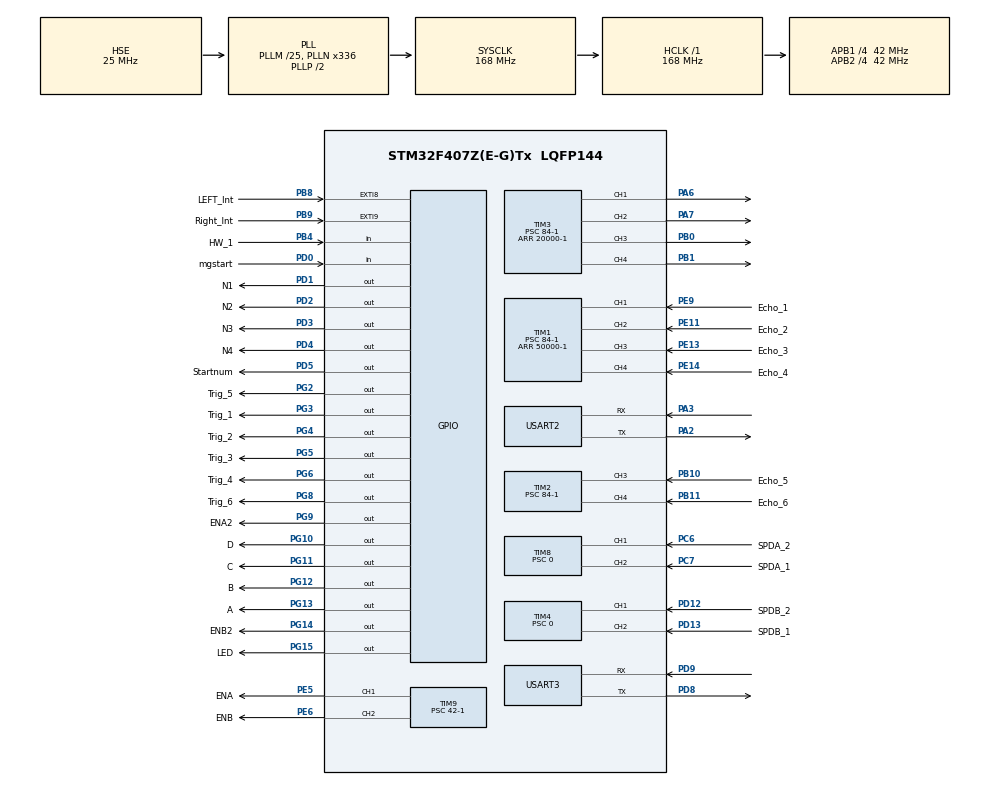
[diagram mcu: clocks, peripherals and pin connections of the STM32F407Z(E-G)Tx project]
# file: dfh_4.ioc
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Dma.Request0=USART2_RX
Dma.Request1=USART2_TX
Dma.Request2=USART3_RX
Dma.Request3=USART3_TX
Dma.USART2_RX.0.Direction=DMA_PERIPH_TO_MEMORY
Dma.USART2_RX.0.FIFOMode=DMA_FIFOMODE_DISABLE
Dma.USART2_RX.0.Instance=DMA1_Stream5
Dma.USART2_RX.0.MemDataAlignment=DMA_MDATAALIGN_BYTE
Dma.USART2_RX.0.MemInc=DMA_MINC_ENABLE
Dma.USART2_RX.0.Mode=DMA_NORMAL
Dma.USART2_RX.0.PeriphDataAlignment=DMA_PDATAALIGN_BYTE
Dma.USART2_RX.0.PeriphInc=DMA_PINC_DISABLE
Dma.USART2_RX.0.Priority=DMA_PRIORITY_HIGH
Dma.USART2_TX.1.Direction=DMA_MEMORY_TO_PERIPH
Dma.USART2_TX.1.FIFOMode=DMA_FIFOMODE_DISABLE
Dma.USART2_TX.1.Instance=DMA1_Stream6
Dma.USART2_TX.1.MemDataAlignment=DMA_MDATAALIGN_BYTE
Dma.USART2_TX.1.MemInc=DMA_MINC_ENABLE
Dma.USART2_TX.1.Mode=DMA_NORMAL
Dma.USART2_TX.1.PeriphDataAlignment=DMA_PDATAALIGN_BYTE
Dma.USART2_TX.1.PeriphInc=DMA_PINC_DISABLE
Dma.USART2_TX.1.Priority=DMA_PRIORITY_LOW
Dma.USART3_RX.2.Direction=DMA_PERIPH_TO_MEMORY
Dma.USART3_RX.2.FIFOMode=DMA_FIFOMODE_DISABLE
Dma.USART3_RX.2.Instance=DMA1_Stream1
Dma.USART3_RX.2.MemDataAlignment=DMA_MDATAALIGN_BYTE
Dma.USART3_RX.2.MemInc=DMA_MINC_ENABLE
Dma.USART3_RX.2.Mode=DMA_NORMAL
Dma.USART3_RX.2.PeriphDataAlignment=DMA_PDATAALIGN_BYTE
Dma.USART3_RX.2.PeriphInc=DMA_PINC_DISABLE
Dma.USART3_RX.2.Priority=DMA_PRIORITY_HIGH
Dma.USART3_TX.3.Direction=DMA_MEMORY_TO_PERIPH
Dma.USART3_TX.3.FIFOMode=DMA_FIFOMODE_DISABLE
Dma.USART3_TX.3.Instance=DMA1_Stream3
Dma.USART3_TX.3.MemDataAlignment=DMA_MDATAALIGN_BYTE
Dma.USART3_TX.3.MemInc=DMA_MINC_ENABLE
Dma.USART3_TX.3.Mode=DMA_NORMAL
Dma.USART3_TX.3.PeriphDataAlignment=DMA_PDATAALIGN_BYTE
Dma.USART3_TX.3.PeriphInc=DMA_PINC_DISABLE
Dma.USART3_TX.3.Priority=DMA_PRIORITY_LOW
FREERTOS.INCLUDE_vTaskDelayUntil=1
FREERTOS.INCLUDE_xQueueGetMutexHolder=0
FREERTOS.INCLUDE_xSemaphoreGetMutexHolder=0
FREERTOS.Tasks01=defaultTask,0,128,StartDefaultTask,Default,NULL
FREERTOS.configMINIMAL_STACK_SIZE=64
Mcu.Family=STM32F4
Mcu.Name=STM32F407Z(E-G)Tx
Mcu.Package=LQFP144
NVIC.DMA1_Stream1_IRQn=true\:5\:0\:false\:false\:true\:true\:false
NVIC.DMA1_Stream3_IRQn=true\:5\:0\:false\:false\:true\:true\:false
NVIC.DMA1_Stream5_IRQn=true\:5\:0\:false\:false\:true\:true\:false
NVIC.DMA1_Stream6_IRQn=true\:5\:0\:false\:false\:true\:true\:false
NVIC.EXTI9_5_IRQn=true\:5\:0\:false\:false\:true\:true\:true
NVIC.PriorityGroup=NVIC_PRIORITYGROUP_4
NVIC.TIM1_CC_IRQn=true\:5\:0\:false\:false\:true\:true\:true
NVIC.TIM2_IRQn=true\:5\:0\:false\:false\:true\:true\:true
NVIC.TIM3_IRQn=true\:5\:0\:false\:false\:true\:true\:true
NVIC.TIM7_IRQn=true\:0\:0\:false\:false\:true\:false\:false
NVIC.TIM8_TRG_COM_TIM14_IRQn=true\:0\:0\:false\:false\:true\:false\:false
NVIC.TimeBase=TIM7_IRQn
NVIC.TimeBaseIP=TIM7
NVIC.USART2_IRQn=true\:5\:0\:false\:false\:true\:true\:true
NVIC.USART3_IRQn=true\:5\:0\:false\:false\:true\:true\:true
PA13.Mode=Serial_Wire
PA13.Signal=SYS_JTMS-SWDIO
PA14.Mode=Serial_Wire
PA14.Signal=SYS_JTCK-SWCLK
PA2.Mode=Asynchronous
PA2.Signal=USART2_TX
PA3.Mode=Asynchronous
PA3.Signal=USART2_RX
PA6.Signal=S_TIM3_CH1
PA7.Signal=S_TIM3_CH2
PB0.Signal=S_TIM3_CH3
PB1.Signal=S_TIM3_CH4
PB10.GPIO_Label=Echo_5
PB10.GPIO_ModeDefaultPP=GPIO_MODE_AF_OD
PB10.GPIO_PuPd=GPIO_PULLDOWN
PB10.GPIO_Speed=GPIO_SPEED_FREQ_HIGH
PB10.Signal=S_TIM2_CH3
PB11.GPIO_Label=Echo_6
PB11.GPIO_ModeDefaultPP=GPIO_MODE_AF_OD
PB11.GPIO_PuPd=GPIO_PULLDOWN
PB11.GPIO_Speed=GPIO_SPEED_FREQ_HIGH
PB11.Signal=S_TIM2_CH4
PB4.GPIO_Label=HW_1
PB4.GPIO_PuPd=GPIO_PULLDOWN
PB4.Signal=GPIO_Input
PB8.GPIO_Label=LEFT_Int
PB8.GPIO_ModeDefaultEXTI=GPIO_MODE_IT_FALLING
PB8.GPIO_PuPd=GPIO_PULLUP
PB8.Signal=GPXTI8
PB9.GPIO_Label=Right_Int
PB9.GPIO_ModeDefaultEXTI=GPIO_MODE_IT_FALLING
PB9.GPIO_PuPd=GPIO_PULLUP
PB9.Signal=GPXTI9
PC14-OSC32_IN.Mode=LSE-External-Oscillator
PC14-OSC32_IN.Signal=RCC_OSC32_IN
PC15-OSC32_OUT.Mode=LSE-External-Oscillator
PC15-OSC32_OUT.Signal=RCC_OSC32_OUT
PC6.GPIO_Label=SPDA_2
PC6.GPIO_ModeDefaultPP=GPIO_MODE_AF_OD
PC6.GPIO_Speed=GPIO_SPEED_FREQ_MEDIUM
PC6.Signal=S_TIM8_CH1
PC7.GPIO_Label=SPDA_1
PC7.GPIO_ModeDefaultPP=GPIO_MODE_AF_OD
PC7.GPIO_Speed=GPIO_SPEED_FREQ_MEDIUM
PC7.Signal=S_TIM8_CH2
PD0.GPIO_Label=mgstart
PD0.GPIO_PuPd=GPIO_PULLDOWN
PD0.Signal=GPIO_Input
PD1.GPIO_Label=N1
PD1.GPIO_ModeDefaultOutputPP=GPIO_MODE_OUTPUT_OD
PD1.GPIO_PuPd=GPIO_PULLUP
PD1.GPIO_Speed=GPIO_SPEED_FREQ_LOW
PD1.PinState=GPIO_PIN_SET
PD1.Signal=GPIO_Output
PD12.GPIO_Label=SPDB_2
PD12.GPIO_ModeDefaultPP=GPIO_MODE_AF_OD
PD12.GPIO_Speed=GPIO_SPEED_FREQ_MEDIUM
PD12.Signal=S_TIM4_CH1
PD13.GPIO_Label=SPDB_1
PD13.GPIO_ModeDefaultPP=GPIO_MODE_AF_OD
PD13.GPIO_Speed=GPIO_SPEED_FREQ_MEDIUM
PD13.Signal=S_TIM4_CH2
PD2.GPIO_Label=N2
PD2.GPIO_ModeDefaultOutputPP=GPIO_MODE_OUTPUT_OD
PD2.GPIO_PuPd=GPIO_PULLUP
PD2.GPIO_Speed=GPIO_SPEED_FREQ_LOW
PD2.PinState=GPIO_PIN_SET
PD2.Signal=GPIO_Output
PD3.GPIO_Label=N3
PD3.GPIO_ModeDefaultOutputPP=GPIO_MODE_OUTPUT_OD
PD3.GPIO_PuPd=GPIO_PULLUP
PD3.GPIO_Speed=GPIO_SPEED_FREQ_LOW
PD3.PinState=GPIO_PIN_SET
PD3.Signal=GPIO_Output
PD4.GPIO_Label=N4
PD4.GPIO_ModeDefaultOutputPP=GPIO_MODE_OUTPUT_OD
PD4.GPIO_PuPd=GPIO_PULLUP
PD4.GPIO_Speed=GPIO_SPEED_FREQ_LOW
PD4.PinState=GPIO_PIN_SET
PD4.Signal=GPIO_Output
PD5.GPIO_Label=Startnum
PD5.GPIO_ModeDefaultOutputPP=GPIO_MODE_OUTPUT_OD
PD5.GPIO_PuPd=GPIO_NOPULL
PD5.PinState=GPIO_PIN_SET
PD5.Signal=GPIO_Output
PD8.GPIO_Speed=GPIO_SPEED_FREQ_VERY_HIGH
PD8.Mode=Asynchronous
PD8.Signal=USART3_TX
PD9.GPIO_Speed=GPIO_SPEED_FREQ_VERY_HIGH
PD9.Mode=Asynchronous
PD9.Signal=USART3_RX
PE11.GPIO_Label=Echo_2
PE11.GPIO_ModeDefaultPP=GPIO_MODE_AF_OD
PE11.GPIO_PuPd=GPIO_PULLDOWN
PE11.GPIO_Speed=GPIO_SPEED_FREQ_HIGH
PE11.Signal=S_TIM1_CH2
PE13.GPIO_Label=Echo_3
PE13.GPIO_ModeDefaultPP=GPIO_MODE_AF_OD
PE13.GPIO_PuPd=GPIO_PULLDOWN
PE13.GPIO_Speed=GPIO_SPEED_FREQ_HIGH
PE13.Signal=S_TIM1_CH3
PE14.GPIO_Label=Echo_4
PE14.GPIO_ModeDefaultPP=GPIO_MODE_AF_OD
PE14.GPIO_PuPd=GPIO_PULLDOWN
PE14.GPIO_Speed=GPIO_SPEED_FREQ_HIGH
PE14.Signal=S_TIM1_CH4
PE5.GPIO_Label=ENA
PE5.GPIO_ModeDefaultPP=GPIO_MODE_AF_OD
PE5.GPIO_PuPd=GPIO_PULLUP
PE5.GPIO_Speed=GPIO_SPEED_FREQ_LOW
PE5.Signal=S_TIM9_CH1
PE6.GPIO_Label=ENB
PE6.GPIO_ModeDefaultPP=GPIO_MODE_AF_OD
PE6.GPIO_PuPd=GPIO_PULLUP
PE6.GPIO_Speed=GPIO_SPEED_FREQ_LOW
PE6.Signal=S_TIM9_CH2
PE9.GPIO_Label=Echo_1
PE9.GPIO_ModeDefaultPP=GPIO_MODE_AF_OD
PE9.GPIO_PuPd=GPIO_PULLDOWN
PE9.GPIO_Speed=GPIO_SPEED_FREQ_HIGH
PE9.Signal=S_TIM1_CH1
PG10.GPIO_Label=D
PG10.GPIO_ModeDefaultOutputPP=GPIO_MODE_OUTPUT_PP
PG10.GPIO_PuPd=GPIO_NOPULL
PG10.GPIO_Speed=GPIO_SPEED_FREQ_HIGH
PG10.Signal=GPIO_Output
PG11.GPIO_Label=C
PG11.GPIO_ModeDefaultOutputPP=GPIO_MODE_OUTPUT_PP
PG11.GPIO_Speed=GPIO_SPEED_FREQ_HIGH
PG11.Signal=GPIO_Output
PG12.GPIO_Label=B
PG12.GPIO_ModeDefaultOutputPP=GPIO_MODE_OUTPUT_PP
PG12.GPIO_Speed=GPIO_SPEED_FREQ_HIGH
PG12.Signal=GPIO_Output
PG13.GPIO_Label=A
PG13.GPIO_ModeDefaultOutputPP=GPIO_MODE_OUTPUT_PP
PG13.GPIO_Speed=GPIO_SPEED_FREQ_HIGH
PG13.Signal=GPIO_Output
PG14.GPIO_Label=ENB2
PG14.GPIO_ModeDefaultOutputPP=GPIO_MODE_OUTPUT_PP
PG14.GPIO_Speed=GPIO_SPEED_FREQ_HIGH
PG14.Signal=GPIO_Output
PG15.GPIO_Label=LED
PG15.GPIO_ModeDefaultOutputPP=GPIO_MODE_OUTPUT_OD
PG15.PinState=GPIO_PIN_SET
PG15.Signal=GPIO_Output
PG2.GPIO_Label=Trig_5
PG2.GPIO_Speed=GPIO_SPEED_FREQ_VERY_HIGH
PG2.Signal=GPIO_Output
PG3.GPIO_Label=Trig_1
PG3.GPIO_Speed=GPIO_SPEED_FREQ_VERY_HIGH
PG3.Signal=GPIO_Output
PG4.GPIO_Label=Trig_2
PG4.GPIO_Speed=GPIO_SPEED_FREQ_VERY_HIGH
PG4.Signal=GPIO_Output
PG5.GPIO_Label=Trig_3
PG5.GPIO_Speed=GPIO_SPEED_FREQ_VERY_HIGH
PG5.Signal=GPIO_Output
PG6.GPIO_Label=Trig_4
PG6.GPIO_Speed=GPIO_SPEED_FREQ_VERY_HIGH
PG6.Signal=GPIO_Output
PG8.GPIO_Label=Trig_6
PG8.GPIO_Speed=GPIO_SPEED_FREQ_VERY_HIGH
PG8.Signal=GPIO_Output
PG9.GPIO_Label=ENA2
PG9.GPIO_ModeDefaultOutputPP=GPIO_MODE_OUTPUT_PP
PG9.GPIO_PuPd=GPIO_NOPULL
PG9.GPIO_Speed=GPIO_SPEED_FREQ_HIGH
PG9.PinState=GPIO_PIN_RESET
PG9.Signal=GPIO_Output
PH0-OSC_IN.Mode=HSE-External-Oscillator
PH0-OSC_IN.Signal=RCC_OSC_IN
PH1-OSC_OUT.Mode=HSE-External-Oscillator
PH1-OSC_OUT.Signal=RCC_OSC_OUT
ProjectManager.HeapSize=0x200
ProjectManager.StackSize=0x400
ProjectManager.TargetToolchain=MDK-ARM V5
RCC.48MHZClocksFreq_Value=84000000
RCC.AHBFreq_Value=168000000
RCC.APB1CLKDivider=RCC_HCLK_DIV4
RCC.APB1Freq_Value=42000000
RCC.APB1TimFreq_Value=84000000
RCC.APB2CLKDivider=RCC_HCLK_DIV4
RCC.APB2Freq_Value=42000000
RCC.APB2TimFreq_Value=84000000
RCC.CortexFreq_Value=168000000
RCC.HCLKFreq_Value=168000000
RCC.HSE_VALUE=25000000
RCC.HSI_VALUE=16000000
RCC.PLLM=25
RCC.PLLN=336
RCC.PLLSourceVirtual=RCC_PLLSOURCE_HSE
RCC.SYSCLKFreq_VALUE=168000000
RCC.SYSCLKSource=RCC_SYSCLKSOURCE_PLLCLK
RCC.VCOOutputFreq_Value=336000000
SH.S_TIM1_CH1.0=TIM1_CH1,Input_Capture1_from_TI1
SH.S_TIM1_CH2.0=TIM1_CH2,Input_Capture2_from_TI2
SH.S_TIM1_CH3.0=TIM1_CH3,Input_Capture3_from_TI3
SH.S_TIM1_CH4.0=TIM1_CH4,Input_Capture4_from_TI4
SH.S_TIM2_CH3.0=TIM2_CH3,Input_Capture3_from_TI3
SH.S_TIM2_CH4.0=TIM2_CH4,Input_Capture4_from_TI4
SH.S_TIM3_CH1.0=TIM3_CH1,PWM Generation1 CH1
SH.S_TIM3_CH2.0=TIM3_CH2,PWM Generation2 CH2
SH.S_TIM3_CH3.0=TIM3_CH3,PWM Generation3 CH3
SH.S_TIM3_CH4.0=TIM3_CH4,PWM Generation4 CH4
SH.S_TIM4_CH1.0=TIM4_CH1,Encoder_Interface
SH.S_TIM4_CH2.0=TIM4_CH2,Encoder_Interface
SH.S_TIM8_CH1.0=TIM8_CH1,Encoder_Interface
SH.S_TIM8_CH2.0=TIM8_CH2,Encoder_Interface
SH.S_TIM9_CH1.0=TIM9_CH1,PWM Generation1 CH1
SH.S_TIM9_CH2.0=TIM9_CH2,PWM Generation2 CH2
TIM1.Channel-Input_Capture1_from_TI1=TIM_CHANNEL_1
TIM1.Channel-Input_Capture2_from_TI2=TIM_CHANNEL_2
TIM1.Channel-Input_Capture3_from_TI3=TIM_CHANNEL_3
TIM1.Channel-Input_Capture4_from_TI4=TIM_CHANNEL_4
TIM1.ICFilter_CH1=8
TIM1.ICFilter_CH2=8
TIM1.ICFilter_CH3=8
TIM1.ICFilter_CH4=8
TIM1.ICPolarity_CH1=TIM_INPUTCHANNELPOLARITY_BOTHEDGE
TIM1.ICPolarity_CH2=TIM_INPUTCHANNELPOLARITY_BOTHEDGE
TIM1.ICPolarity_CH3=TIM_INPUTCHANNELPOLARITY_BOTHEDGE
TIM1.ICPolarity_CH4=TIM_INPUTCHANNELPOLARITY_BOTHEDGE
TIM1.Period=50000-1
TIM1.Prescaler=84-1
TIM2.Channel-Input_Capture3_from_TI3=TIM_CHANNEL_3
TIM2.Channel-Input_Capture4_from_TI4=TIM_CHANNEL_4
TIM2.ICFilter_CH3=8
TIM2.ICFilter_CH4=8
TIM2.ICPolarity_CH3=TIM_INPUTCHANNELPOLARITY_BOTHEDGE
TIM2.ICPolarity_CH4=TIM_INPUTCHANNELPOLARITY_BOTHEDGE
TIM2.Period=50000-1
TIM2.Prescaler=84-1
TIM3.Channel-PWM\ Generation1\ CH1=TIM_CHANNEL_1
TIM3.Channel-PWM\ Generation2\ CH2=TIM_CHANNEL_2
TIM3.Channel-PWM\ Generation3\ CH3=TIM_CHANNEL_3
TIM3.Channel-PWM\ Generation4\ CH4=TIM_CHANNEL_4
TIM3.Period=20000-1
TIM3.Prescaler=84-1
TIM4.EncoderMode=TIM_ENCODERMODE_TI12
TIM4.IC1Filter=8
TIM4.IC1Prescaler=TIM_ICPSC_DIV1
TIM4.IC2Filter=8
TIM4.IC2Prescaler=TIM_ICPSC_DIV1
TIM4.Period=65535
TIM4.Prescaler=0
TIM8.EncoderMode=TIM_ENCODERMODE_TI12
TIM8.IC1Filter=8
TIM8.IC2Filter=8
TIM8.Period=65535
TIM8.Prescaler=0
TIM9.Channel-PWM\ Generation1\ CH1=TIM_CHANNEL_1
TIM9.Channel-PWM\ Generation2\ CH2=TIM_CHANNEL_2
TIM9.Period=100-1
TIM9.Prescaler=42-1
USART2.VirtualMode=VM_ASYNC
USART3.OverSampling=UART_OVERSAMPLING_16
USART3.VirtualMode=VM_ASYNC
VP_FREERTOS_VS_ENABLE.Mode=Enabled
VP_SYS_VS_tim7.Mode=TIM7
board=dfh_4

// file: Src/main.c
/**
  ******************************************************************************
  * @file           : main.c
  * @brief          : Main program body
  ******************************************************************************
  * This notice applies to any and all portions of this file
  * that are not between comment pairs USER CODE BEGIN and
  * USER CODE END. Other portions of this file, whether
  * inserted by the user or by software development tools
  * are owned by their respective copyright owners.
  *
  * Copyright (c) 2018 STMicroelectronics International N.V.
  * All rights reserved.
  *
  * Redistribution and use in source and binary forms, with or without
  * modification, are permitted, provided that the following conditions are met:
  *
  * 1. Redistribution of source code must retain the above copyright notice,
  *    this list of conditions and the following disclaimer.
  * 2. Redistributions in binary form must reproduce the above copyright notice,
  *    this list of conditions and the following disclaimer in the documentation
  *    and/or other materials provided with the distribution.
  * 3. Neither the name of STMicroelectronics nor the names of other
  *    contributors to this software may be used to endorse or promote products
  *    derived from this software without specific written permission.
  * 4. This software, including modifications and/or derivative works of this
  *    software, must execute solely and exclusively on microcontroller or
  *    microprocessor devices manufactured by or for STMicroelectronics.
  * 5. Redistribution and use of this software other than as permitted under
  *    this license is void and will automatically terminate your rights under
  *    this license.
  *
  * THIS SOFTWARE IS PROVIDED BY STMICROELECTRONICS AND CONTRIBUTORS "AS IS"
  * AND ANY EXPRESS, IMPLIED OR STATUTORY WARRANTIES, INCLUDING, BUT NOT
  * LIMITED TO, THE IMPLIED WARRANTIES OF MERCHANTABILITY, FITNESS FOR A
  * PARTICULAR PURPOSE AND NON-INFRINGEMENT OF THIRD PARTY INTELLECTUAL PROPERTY
  * RIGHTS ARE DISCLAIMED TO THE FULLEST EXTENT PERMITTED BY LAW. IN NO EVENT
  * SHALL STMICROELECTRONICS OR CONTRIBUTORS BE LIABLE FOR ANY DIRECT, INDIRECT,
  * INCIDENTAL, SPECIAL, EXEMPLARY, OR CONSEQUENTIAL DAMAGES (INCLUDING, BUT NOT
  * LIMITED TO, PROCUREMENT OF SUBSTITUTE GOODS OR SERVICES; LOSS OF USE, DATA,
  * OR PROFITS; OR BUSINESS INTERRUPTION) HOWEVER CAUSED AND ON ANY THEORY OF
  * LIABILITY, WHETHER IN CONTRACT, STRICT LIABILITY, OR TORT (INCLUDING
  * NEGLIGENCE OR OTHERWISE) ARISING IN ANY WAY OUT OF THE USE OF THIS SOFTWARE,
  * EVEN IF ADVISED OF THE POSSIBILITY OF SUCH DAMAGE.
  *
  ******************************************************************************
  */
#include "main.h"
#include "stm32f4xx_hal.h"
#include "cmsis_os.h"

/* USER CODE BEGIN Includes */
#include "echo.h"
//#include "hmc5983.h"
//#include "flash.h"
#include "moto.h"
#include "uart.h"
#include "math.h"
#include "mpu.h"
#include "servoctrl.h"
#include "dwt_stm32_delay.h"
//#include "dmpctl.h"
/* USER CODE END Includes */

TIM_HandleTypeDef htim1;
TIM_HandleTypeDef htim2;
TIM_HandleTypeDef htim3;
TIM_HandleTypeDef htim4;
TIM_HandleTypeDef htim8;
TIM_HandleTypeDef htim9;

UART_HandleTypeDef huart2;
UART_HandleTypeDef huart3;
DMA_HandleTypeDef hdma_usart2_rx;
DMA_HandleTypeDef hdma_usart2_tx;
DMA_HandleTypeDef hdma_usart3_rx;
DMA_HandleTypeDef hdma_usart3_tx;

osThreadId defaultTaskHandle;

/* USER CODE BEGIN PV */
/* Private variables ---------------------------------------------------------*/

osThreadId startinitHandle;
osThreadId main_1Handle;

osThreadId moto_jzHandle;
osThreadId moto_controlHandle;
osThreadId TestHandle;
osThreadId mpuHandle;
osThreadId bzHandle;
/* USER CODE END PV */

void SystemClock_Config(void);
static void MX_GPIO_Init(void);
static void MX_DMA_Init(void);
static void MX_TIM1_Init(void);
static void MX_TIM2_Init(void);
static void MX_TIM4_Init(void);
static void MX_USART2_UART_Init(void);
static void MX_TIM9_Init(void);
static void MX_USART3_UART_Init(void);
static void MX_TIM8_Init(void);
static void MX_TIM3_Init(void);
void StartDefaultTask(void const * argument);

void HAL_TIM_MspPostInit(TIM_HandleTypeDef *htim);

/* USER CODE BEGIN PFP */
/* Private function prototypes -----------------------------------------------*/
 extern uint16_t EDjl1,EDjl2,EDjl3,EDjl4,EDjl5,EDjl6;
 extern int16_t YAW,PITCH,ROLL;
 extern uint16_t SA,SB,Timec;
 extern int16_t SPDA,SPDB;
/* USER CODE END PFP */

/* USER CODE BEGIN 0 */

void startinittask(void const * argument);
void main_1task(void const * argument);
void moto_jztask(void const * argument);
extern void moto_controltask(void const * argument);
extern void mputask(void const * argument);
void Testtask(void const * argument);
extern void bztask(void const * argument);
/* USER CODE END 0 */

int main(void)
{

  /* MCU Configuration----------------------------------------------------------*/

  /* Reset of all peripherals, Initializes the Flash interface and the Systick. */
  HAL_Init();

  /* Configure the system clock */
  SystemClock_Config();

  /* USER CODE BEGIN SysInit */
	DWT_Delay_Init();
  /* USER CODE END SysInit */

  /* Initialize all configured peripherals */
  MX_GPIO_Init();
  MX_DMA_Init();
  MX_TIM1_Init();
  MX_TIM2_Init();
  MX_TIM4_Init();
  MX_USART2_UART_Init();
  MX_TIM9_Init();
  MX_USART3_UART_Init();
  MX_TIM8_Init();
  MX_TIM3_Init();
  /* USER CODE BEGIN 2 */
//   HAL_TIM_PWM_Start(&htim9,TIM_CHANNEL_1);
//   HAL_TIM_PWM_Start(&htim9,TIM_CHANNEL_2);
	//HAL_TIM_Base_Start_IT(&htim1);
   //HAL_TIM_Base_Start_IT(&htim2);
	HAL_TIM_IC_Start_IT(&htim1,TIM_CHANNEL_1);
	HAL_TIM_IC_Start_IT(&htim1,TIM_CHANNEL_2);
	HAL_TIM_IC_Start_IT(&htim1,TIM_CHANNEL_3);
	HAL_TIM_IC_Start_IT(&htim1,TIM_CHANNEL_4);
	HAL_TIM_IC_Start_IT(&htim2,TIM_CHANNEL_3);
	HAL_TIM_IC_Start_IT(&htim2,TIM_CHANNEL_4);

//	HAL_TIM_Encoder_Start(&htim4,TIM_CHANNEL_1);
//	HAL_TIM_Encoder_Start(&htim4,TIM_CHANNEL_2);
//	HAL_TIM_Encoder_Start(&htim8,TIM_CHANNEL_1);
//	HAL_TIM_Encoder_Start(&htim8,TIM_CHANNEL_2);

	EchoFreertosInit();
	ServoCtrlFreertosInit();
  /* USER CODE END 2 */

  /* Create the thread(s) */
  /* definition and creation of defaultTask */
  osThreadDef(defaultTask, StartDefaultTask, osPriorityNormal, 0, 128);
  defaultTaskHandle = osThreadCreate(osThread(defaultTask), NULL);

  /* USER CODE BEGIN RTOS_THREADS */
  /* add threads, ... */
  /* definition and creation of Echo_1 */
  osThreadDef(main_1, main_1task, osPriorityRealtime, 0, 256);
  main_1Handle = osThreadCreate(osThread(main_1), NULL);

  osThreadDef(moto_control, moto_controltask, osPriorityRealtime, 0, 256);
  moto_controlHandle = osThreadCreate(osThread(moto_control), NULL);
  osThreadDef(moto_jz, moto_jztask, osPriorityRealtime, 0, 128);
  moto_jzHandle = osThreadCreate(osThread(moto_jz), NULL);

//	osThreadDef(bz, bztask, osPriorityRealtime, 0,128);  //要调
//	bzHandle = osThreadCreate(osThread(bz), NULL);
  /* definition and creation of Echo_5 */

//	osThreadDef(Test, Testtask, osPriorityRealtime, 0, 256);
//	TestHandle = osThreadCreate(osThread(Test), NULL);
  /* definition and creation of Echo_6 */

  osThreadDef(mpu, mputask, osPriorityRealtime, 0, 128);  //要调
  mpuHandle = osThreadCreate(osThread(mpu), NULL);
  /* USER CODE END RTOS_THREADS */

  /* Start scheduler */
  osKernelStart();

  /* We should never get here as control is now taken by the scheduler */

  /* Infinite loop */
  while (1)
  {

  }

}

void SystemClock_Config(void)
{

  RCC_OscInitTypeDef RCC_OscInitStruct;
  RCC_ClkInitTypeDef RCC_ClkInitStruct;

    /**Configure the main internal regulator output voltage
    */
  __HAL_RCC_PWR_CLK_ENABLE();

  __HAL_PWR_VOLTAGESCALING_CONFIG(PWR_REGULATOR_VOLTAGE_SCALE1);

    /**Initializes the CPU, AHB and APB busses clocks
    */
  RCC_OscInitStruct.OscillatorType = RCC_OSCILLATORTYPE_HSE;
  RCC_OscInitStruct.HSEState = RCC_HSE_ON;
  RCC_OscInitStruct.PLL.PLLState = RCC_PLL_ON;
  RCC_OscInitStruct.PLL.PLLSource = RCC_PLLSOURCE_HSE;
  RCC_OscInitStruct.PLL.PLLM = 25;
  RCC_OscInitStruct.PLL.PLLN = 336;
  RCC_OscInitStruct.PLL.PLLP = RCC_PLLP_DIV2;
  RCC_OscInitStruct.PLL.PLLQ = 4;
  if (HAL_RCC_OscConfig(&RCC_OscInitStruct) != HAL_OK)
  {
    _Error_Handler(__FILE__, __LINE__);
  }

    /**Initializes the CPU, AHB and APB busses clocks
    */
  RCC_ClkInitStruct.ClockType = RCC_CLOCKTYPE_HCLK|RCC_CLOCKTYPE_SYSCLK
                              |RCC_CLOCKTYPE_PCLK1|RCC_CLOCKTYPE_PCLK2;
  RCC_ClkInitStruct.SYSCLKSource = RCC_SYSCLKSOURCE_PLLCLK;
  RCC_ClkInitStruct.AHBCLKDivider = RCC_SYSCLK_DIV1;
  RCC_ClkInitStruct.APB1CLKDivider = RCC_HCLK_DIV4;
  RCC_ClkInitStruct.APB2CLKDivider = RCC_HCLK_DIV4;

  if (HAL_RCC_ClockConfig(&RCC_ClkInitStruct, FLASH_LATENCY_5) != HAL_OK)
  {
    _Error_Handler(__FILE__, __LINE__);
  }

    /**Configure the Systick interrupt time
    */
  HAL_SYSTICK_Config(HAL_RCC_GetHCLKFreq()/1000);

    /**Configure the Systick
    */
  HAL_SYSTICK_CLKSourceConfig(SYSTICK_CLKSOURCE_HCLK);

  /* SysTick_IRQn interrupt configuration */
  HAL_NVIC_SetPriority(SysTick_IRQn, 15, 0);
}

/* TIM1 init function */
static void MX_TIM1_Init(void)
{

  TIM_MasterConfigTypeDef sMasterConfig;
  TIM_IC_InitTypeDef sConfigIC;

  htim1.Instance = TIM1;
  htim1.Init.Prescaler = 84-1;
  htim1.Init.CounterMode = TIM_COUNTERMODE_UP;
  htim1.Init.Period = 50000-1;
  htim1.Init.ClockDivision = TIM_CLOCKDIVISION_DIV1;
  htim1.Init.RepetitionCounter = 0;
  if (HAL_TIM_IC_Init(&htim1) != HAL_OK)
  {
    _Error_Handler(__FILE__, __LINE__);
  }

  sMasterConfig.MasterOutputTrigger = TIM_TRGO_RESET;
  sMasterConfig.MasterSlaveMode = TIM_MASTERSLAVEMODE_DISABLE;
  if (HAL_TIMEx_MasterConfigSynchronization(&htim1, &sMasterConfig) != HAL_OK)
  {
    _Error_Handler(__FILE__, __LINE__);
  }

  sConfigIC.ICPolarity = TIM_INPUTCHANNELPOLARITY_BOTHEDGE;
  sConfigIC.ICSelection = TIM_ICSELECTION_DIRECTTI;
  sConfigIC.ICPrescaler = TIM_ICPSC_DIV1;
  sConfigIC.ICFilter = 8;
  if (HAL_TIM_IC_ConfigChannel(&htim1, &sConfigIC, TIM_CHANNEL_1) != HAL_OK)
  {
    _Error_Handler(__FILE__, __LINE__);
  }

  if (HAL_TIM_IC_ConfigChannel(&htim1, &sConfigIC, TIM_CHANNEL_2) != HAL_OK)
  {
    _Error_Handler(__FILE__, __LINE__);
  }

  if (HAL_TIM_IC_ConfigChannel(&htim1, &sConfigIC, TIM_CHANNEL_3) != HAL_OK)
  {
    _Error_Handler(__FILE__, __LINE__);
  }

  if (HAL_TIM_IC_ConfigChannel(&htim1, &sConfigIC, TIM_CHANNEL_4) != HAL_OK)
  {
    _Error_Handler(__FILE__, __LINE__);
  }

}

/* TIM2 init function */
static void MX_TIM2_Init(void)
{

  TIM_MasterConfigTypeDef sMasterConfig;
  TIM_IC_InitTypeDef sConfigIC;

  htim2.Instance = TIM2;
  htim2.Init.Prescaler = 84-1;
  htim2.Init.CounterMode = TIM_COUNTERMODE_UP;
  htim2.Init.Period = 50000-1;
  htim2.Init.ClockDivision = TIM_CLOCKDIVISION_DIV1;
  if (HAL_TIM_IC_Init(&htim2) != HAL_OK)
  {
    _Error_Handler(__FILE__, __LINE__);
  }

  sMasterConfig.MasterOutputTrigger = TIM_TRGO_RESET;
  sMasterConfig.MasterSlaveMode = TIM_MASTERSLAVEMODE_DISABLE;
  if (HAL_TIMEx_MasterConfigSynchronization(&htim2, &sMasterConfig) != HAL_OK)
  {
    _Error_Handler(__FILE__, __LINE__);
  }

  sConfigIC.ICPolarity = TIM_INPUTCHANNELPOLARITY_BOTHEDGE;
  sConfigIC.ICSelection = TIM_ICSELECTION_DIRECTTI;
  sConfigIC.ICPrescaler = TIM_ICPSC_DIV1;
  sConfigIC.ICFilter = 8;
  if (HAL_TIM_IC_ConfigChannel(&htim2, &sConfigIC, TIM_CHANNEL_3) != HAL_OK)
  {
    _Error_Handler(__FILE__, __LINE__);
  }

  if (HAL_TIM_IC_ConfigChannel(&htim2, &sConfigIC, TIM_CHANNEL_4) != HAL_OK)
  {
    _Error_Handler(__FILE__, __LINE__);
  }

}

/* TIM3 init function */
static void MX_TIM3_Init(void)
{

  TIM_MasterConfigTypeDef sMasterConfig;
  TIM_OC_InitTypeDef sConfigOC;

  htim3.Instance = TIM3;
  htim3.Init.Prescaler = 84-1;
  htim3.Init.CounterMode = TIM_COUNTERMODE_UP;
  htim3.Init.Period = 20000-1;
  htim3.Init.ClockDivision = TIM_CLOCKDIVISION_DIV1;
  if (HAL_TIM_PWM_Init(&htim3) != HAL_OK)
  {
    _Error_Handler(__FILE__, __LINE__);
  }

  sMasterConfig.MasterOutputTrigger = TIM_TRGO_RESET;
  sMasterConfig.MasterSlaveMode = TIM_MASTERSLAVEMODE_DISABLE;
  if (HAL_TIMEx_MasterConfigSynchronization(&htim3, &sMasterConfig) != HAL_OK)
  {
    _Error_Handler(__FILE__, __LINE__);
  }

  sConfigOC.OCMode = TIM_OCMODE_PWM1;
  sConfigOC.Pulse = 0;
  sConfigOC.OCPolarity = TIM_OCPOLARITY_HIGH;
  sConfigOC.OCFastMode = TIM_OCFAST_DISABLE;
  if (HAL_TIM_PWM_ConfigChannel(&htim3, &sConfigOC, TIM_CHANNEL_1) != HAL_OK)
  {
    _Error_Handler(__FILE__, __LINE__);
  }

  if (HAL_TIM_PWM_ConfigChannel(&htim3, &sConfigOC, TIM_CHANNEL_2) != HAL_OK)
  {
    _Error_Handler(__FILE__, __LINE__);
  }

  if (HAL_TIM_PWM_ConfigChannel(&htim3, &sConfigOC, TIM_CHANNEL_3) != HAL_OK)
  {
    _Error_Handler(__FILE__, __LINE__);
  }

  if (HAL_TIM_PWM_ConfigChannel(&htim3, &sConfigOC, TIM_CHANNEL_4) != HAL_OK)
  {
    _Error_Handler(__FILE__, __LINE__);
  }

  HAL_TIM_MspPostInit(&htim3);

}

/* TIM4 init function */
static void MX_TIM4_Init(void)
{

  TIM_Encoder_InitTypeDef sConfig;
  TIM_MasterConfigTypeDef sMasterConfig;

  htim4.Instance = TIM4;
  htim4.Init.Prescaler = 0;
  htim4.Init.CounterMode = TIM_COUNTERMODE_UP;
  htim4.Init.Period = 65535;
  htim4.Init.ClockDivision = TIM_CLOCKDIVISION_DIV1;
  sConfig.EncoderMode = TIM_ENCODERMODE_TI12;
  sConfig.IC1Polarity = TIM_ICPOLARITY_RISING;
  sConfig.IC1Selection = TIM_ICSELECTION_DIRECTTI;
  sConfig.IC1Prescaler = TIM_ICPSC_DIV1;
  sConfig.IC1Filter = 8;
  sConfig.IC2Polarity = TIM_ICPOLARITY_RISING;
  sConfig.IC2Selection = TIM_ICSELECTION_DIRECTTI;
  sConfig.IC2Prescaler = TIM_ICPSC_DIV1;
  sConfig.IC2Filter = 8;
  if (HAL_TIM_Encoder_Init(&htim4, &sConfig) != HAL_OK)
  {
    _Error_Handler(__FILE__, __LINE__);
  }

  sMasterConfig.MasterOutputTrigger = TIM_TRGO_RESET;
  sMasterConfig.MasterSlaveMode = TIM_MASTERSLAVEMODE_DISABLE;
  if (HAL_TIMEx_MasterConfigSynchronization(&htim4, &sMasterConfig) != HAL_OK)
  {
    _Error_Handler(__FILE__, __LINE__);
  }

}

/* TIM8 init function */
static void MX_TIM8_Init(void)
{

  TIM_Encoder_InitTypeDef sConfig;
  TIM_MasterConfigTypeDef sMasterConfig;

  htim8.Instance = TIM8;
  htim8.Init.Prescaler = 0;
  htim8.Init.CounterMode = TIM_COUNTERMODE_UP;
  htim8.Init.Period = 65535;
  htim8.Init.ClockDivision = TIM_CLOCKDIVISION_DIV1;
  htim8.Init.RepetitionCounter = 0;
  sConfig.EncoderMode = TIM_ENCODERMODE_TI12;
  sConfig.IC1Polarity = TIM_ICPOLARITY_RISING;
  sConfig.IC1Selection = TIM_ICSELECTION_DIRECTTI;
  sConfig.IC1Prescaler = TIM_ICPSC_DIV1;
  sConfig.IC1Filter = 8;
  sConfig.IC2Polarity = TIM_ICPOLARITY_RISING;
  sConfig.IC2Selection = TIM_ICSELECTION_DIRECTTI;
  sConfig.IC2Prescaler = TIM_ICPSC_DIV1;
  sConfig.IC2Filter = 8;
  if (HAL_TIM_Encoder_Init(&htim8, &sConfig) != HAL_OK)
  {
    _Error_Handler(__FILE__, __LINE__);
  }

  sMasterConfig.MasterOutputTrigger = TIM_TRGO_RESET;
  sMasterConfig.MasterSlaveMode = TIM_MASTERSLAVEMODE_DISABLE;
  if (HAL_TIMEx_MasterConfigSynchronization(&htim8, &sMasterConfig) != HAL_OK)
  {
    _Error_Handler(__FILE__, __LINE__);
  }

}

/* TIM9 init function */
static void MX_TIM9_Init(void)
{

  TIM_OC_InitTypeDef sConfigOC;

  htim9.Instance = TIM9;
  htim9.Init.Prescaler = 42-1;
  htim9.Init.CounterMode = TIM_COUNTERMODE_UP;
  htim9.Init.Period = 100-1;
  htim9.Init.ClockDivision = TIM_CLOCKDIVISION_DIV1;
  if (HAL_TIM_PWM_Init(&htim9) != HAL_OK)
  {
    _Error_Handler(__FILE__, __LINE__);
  }

  sConfigOC.OCMode = TIM_OCMODE_PWM1;
  sConfigOC.Pulse = 0;
  sConfigOC.OCPolarity = TIM_OCPOLARITY_HIGH;
  sConfigOC.OCFastMode = TIM_OCFAST_DISABLE;
  if (HAL_TIM_PWM_ConfigChannel(&htim9, &sConfigOC, TIM_CHANNEL_1) != HAL_OK)
  {
    _Error_Handler(__FILE__, __LINE__);
  }

  if (HAL_TIM_PWM_ConfigChannel(&htim9, &sConfigOC, TIM_CHANNEL_2) != HAL_OK)
  {
    _Error_Handler(__FILE__, __LINE__);
  }

  HAL_TIM_MspPostInit(&htim9);

}

/* USART2 init function */
static void MX_USART2_UART_Init(void)
{

  huart2.Instance = USART2;
  huart2.Init.BaudRate = 115200;
  huart2.Init.WordLength = UART_WORDLENGTH_8B;
  huart2.Init.StopBits = UART_STOPBITS_1;
  huart2.Init.Parity = UART_PARITY_NONE;
  huart2.Init.Mode = UART_MODE_TX_RX;
  huart2.Init.HwFlowCtl = UART_HWCONTROL_NONE;
  huart2.Init.OverSampling = UART_OVERSAMPLING_16;
  if (HAL_UART_Init(&huart2) != HAL_OK)
  {
    _Error_Handler(__FILE__, __LINE__);
  }

}

/* USART3 init function */
static void MX_USART3_UART_Init(void)
{

  huart3.Instance = USART3;
  huart3.Init.BaudRate = 115200;
  huart3.Init.WordLength = UART_WORDLENGTH_8B;
  huart3.Init.StopBits = UART_STOPBITS_1;
  huart3.Init.Parity = UART_PARITY_NONE;
  huart3.Init.Mode = UART_MODE_TX_RX;
  huart3.Init.HwFlowCtl = UART_HWCONTROL_NONE;
  huart3.Init.OverSampling = UART_OVERSAMPLING_16;
  if (HAL_UART_Init(&huart3) != HAL_OK)
  {
    _Error_Handler(__FILE__, __LINE__);
  }

}

static void MX_DMA_Init(void)
{
  /* DMA controller clock enable */
  __HAL_RCC_DMA1_CLK_ENABLE();

  /* DMA interrupt init */
  /* DMA1_Stream1_IRQn interrupt configuration */
  HAL_NVIC_SetPriority(DMA1_Stream1_IRQn, 5, 0);
  HAL_NVIC_EnableIRQ(DMA1_Stream1_IRQn);
  /* DMA1_Stream3_IRQn interrupt configuration */
  HAL_NVIC_SetPriority(DMA1_Stream3_IRQn, 5, 0);
  HAL_NVIC_EnableIRQ(DMA1_Stream3_IRQn);
  /* DMA1_Stream5_IRQn interrupt configuration */
  HAL_NVIC_SetPriority(DMA1_Stream5_IRQn, 5, 0);
  HAL_NVIC_EnableIRQ(DMA1_Stream5_IRQn);
  /* DMA1_Stream6_IRQn interrupt configuration */
  HAL_NVIC_SetPriority(DMA1_Stream6_IRQn, 5, 0);
  HAL_NVIC_EnableIRQ(DMA1_Stream6_IRQn);

}

/** Configure pins as
        * Analog
        * Input
        * Output
        * EVENT_OUT
        * EXTI
*/
static void MX_GPIO_Init(void)
{

  GPIO_InitTypeDef GPIO_InitStruct;

  /* GPIO Ports Clock Enable */
  __HAL_RCC_GPIOE_CLK_ENABLE();
  __HAL_RCC_GPIOC_CLK_ENABLE();
  __HAL_RCC_GPIOH_CLK_ENABLE();
  __HAL_RCC_GPIOA_CLK_ENABLE();
  __HAL_RCC_GPIOB_CLK_ENABLE();
  __HAL_RCC_GPIOD_CLK_ENABLE();
  __HAL_RCC_GPIOG_CLK_ENABLE();

  /*Configure GPIO pin Output Level */
  HAL_GPIO_WritePin(GPIOG, Trig_5_Pin|Trig_1_Pin|Trig_2_Pin|Trig_3_Pin
                          |Trig_4_Pin|Trig_6_Pin|ENA2_Pin|D_Pin
                          |C_Pin|B_Pin|A_Pin|ENB2_Pin, GPIO_PIN_RESET);

  /*Configure GPIO pin Output Level */
  HAL_GPIO_WritePin(GPIOD, N1_Pin|N2_Pin|N3_Pin|N4_Pin, GPIO_PIN_SET);

  /*Configure GPIO pin Output Level */
  HAL_GPIO_WritePin(LED_GPIO_Port, LED_Pin, GPIO_PIN_SET);

  /*Configure GPIO pins : Trig_5_Pin Trig_1_Pin Trig_2_Pin Trig_3_Pin
                           Trig_4_Pin Trig_6_Pin */
  GPIO_InitStruct.Pin = Trig_5_Pin|Trig_1_Pin|Trig_2_Pin|Trig_3_Pin
                          |Trig_4_Pin|Trig_6_Pin;
  GPIO_InitStruct.Mode = GPIO_MODE_OUTPUT_PP;
  GPIO_InitStruct.Pull = GPIO_NOPULL;
  GPIO_InitStruct.Speed = GPIO_SPEED_FREQ_VERY_HIGH;
  HAL_GPIO_Init(GPIOG, &GPIO_InitStruct);

  /*Configure GPIO pin : mgstart_Pin */
  GPIO_InitStruct.Pin = mgstart_Pin;
  GPIO_InitStruct.Mode = GPIO_MODE_INPUT;
  GPIO_InitStruct.Pull = GPIO_PULLDOWN;
  HAL_GPIO_Init(mgstart_GPIO_Port, &GPIO_InitStruct);

  /*Configure GPIO pins : N1_Pin N2_Pin N3_Pin N4_Pin */
  GPIO_InitStruct.Pin = N1_Pin|N2_Pin|N3_Pin|N4_Pin|Startnum_Pin;
  GPIO_InitStruct.Mode = GPIO_MODE_OUTPUT_OD;
  GPIO_InitStruct.Pull = GPIO_PULLUP;
  GPIO_InitStruct.Speed = GPIO_SPEED_FREQ_LOW;
  HAL_GPIO_Init(GPIOD, &GPIO_InitStruct);

  /*Configure GPIO pins : ENA2_Pin D_Pin C_Pin B_Pin
                           A_Pin ENB2_Pin */
  GPIO_InitStruct.Pin = ENA2_Pin|D_Pin|C_Pin|B_Pin
                          |A_Pin|ENB2_Pin;
  GPIO_InitStruct.Mode = GPIO_MODE_OUTPUT_PP;
  GPIO_InitStruct.Pull = GPIO_NOPULL;
  GPIO_InitStruct.Speed = GPIO_SPEED_FREQ_HIGH;
  HAL_GPIO_Init(GPIOG, &GPIO_InitStruct);

  /*Configure GPIO pin : LED_Pin */
  GPIO_InitStruct.Pin = LED_Pin;
  GPIO_InitStruct.Mode = GPIO_MODE_OUTPUT_OD;
  GPIO_InitStruct.Pull = GPIO_NOPULL;
  GPIO_InitStruct.Speed = GPIO_SPEED_FREQ_LOW;
  HAL_GPIO_Init(LED_GPIO_Port, &GPIO_InitStruct);

  /*Configure GPIO pin : HW_1_Pin */
  GPIO_InitStruct.Pin = HW_1_Pin;
  GPIO_InitStruct.Mode = GPIO_MODE_INPUT;
  GPIO_InitStruct.Pull = GPIO_PULLDOWN;
  HAL_GPIO_Init(HW_1_GPIO_Port, &GPIO_InitStruct);

  /*Configure GPIO pins : LEFT_Int_Pin Right_Int_Pin */
  GPIO_InitStruct.Pin = LEFT_Int_Pin|Right_Int_Pin;
  GPIO_InitStruct.Mode = GPIO_MODE_IT_FALLING;
  GPIO_InitStruct.Pull = GPIO_PULLUP;
  HAL_GPIO_Init(GPIOB, &GPIO_InitStruct);

  /* EXTI interrupt init*/
  HAL_NVIC_SetPriority(EXTI9_5_IRQn, 5, 0);
  HAL_NVIC_EnableIRQ(EXTI9_5_IRQn);

}

/* USER CODE BEGIN 4 */
extern uint8_t moto_control1;
extern int32_t setSPA,setSPB;
int32_t setSPEED,speed;
uint8_t angleJS,setangle,motofrontorturn,setfangx = 0;//前后
extern int16_t ReadDisA,ReadDisB;

//#define LowSpeed 20
//#define TurnDis 160  //250
#define LowDis 400
#define ChangeDis 300 //距离变化最大值
#define TurnTime 5 //

#define Turnworkdis 13 //检测转弯后继续行走距离 13CM

#define frontJ 1
#define backJ 2
#define front 5
#define back 6
#define right 4
#define left 3
uint16_t TurnDis = 170; //
int16_t LowSpeed = 25;
void main_1task(void const * argument)
{
	//setangle = 0;
	angleJS = 0;
	motofrontorturn = 0;
	setSPEED = 40;
	osDelay(500);
	//vTaskSuspend(mpuHandle);
	//HAL_GPIO_WritePin(GPIOG, GPIO_PIN_15,GPIO_PIN_SET);
	TickType_t xLastWakeTime;
	const TickType_t xFrequency = 5;
	xLastWakeTime = xTaskGetTickCount();
	for(;;)
	{
//		        ulTaskNotifyTake(pdTRUE,
//                 portMAX_DELAY); /* 无限等待 */
		//echo_1();

		switch(angleJS)//4为右 3为左
		{
			case 0:
			{
				if(EDjl1>LowDis)
				{
					if(EDjl2 > ChangeDis)
					{
						speed = LowSpeed;
						moto_control1 = front;
					}
					else
					{
						speed = setSPEED+10;
						moto_control1 = frontJ;
					}
				}
				else
				{
						speed = LowSpeed;
					 if(EDjl5 > ChangeDis)
					 {
						 if(EDjl3 < ChangeDis)
						 {
							 if(EDjl1 < TurnDis)
							{
								moto_control1 = right;
								vTaskSuspend(main_1Handle);
								angleJS = 1;
							}
						}
					}
				}
			}
			break;
			case 1:
			{
				if(EDjl1 > ChangeDis)
				{
					speed = setSPEED;
					moto_control1 = frontJ;
				}
				else
				{
					speed = LowSpeed;
					if(EDjl5 > ChangeDis)
					{
						if(EDjl3 < ChangeDis)
						{
							if(EDjl1 < TurnDis)
						   {
								moto_control1 = right;
								vTaskSuspend(main_1Handle);
								angleJS = 2;
							}
						}
					}
				}
			}
			break;
			case 2:
			{
				do
				{
					moto_control1 = frontJ;
					speed = setSPEED;
					osDelayUntil(&xLastWakeTime, xFrequency);
				}
				while(EDjl4 > ChangeDis);
				while(EDjl4 < ChangeDis)
				{
					moto_control1 = frontJ;
					speed = setSPEED;
					osDelayUntil(&xLastWakeTime, xFrequency);
				}
				while(EDjl4 > ChangeDis)
				{
					moto_control1 = frontJ;
					speed = LowSpeed;
               if(EDjl5 > ChangeDis)
					{
						moto_control1 = 0;
						moto_frontDis(Turnworkdis,Turnworkdis,LowSpeed);
						moto_control1 = right;
						vTaskSuspend(main_1Handle);
						angleJS = 3;
						break;
					}
					osDelayUntil(&xLastWakeTime, xFrequency);
				}
			}
	      break;
			case 3:
			{
				if(EDjl1 > LowDis)
				{
					if(EDjl2 > ChangeDis)
					{
						moto_control1 = front;
						speed = setSPEED;
					}
					else
					{
						moto_control1 = frontJ;
						speed = setSPEED;
					}
				}
				else
				{
					if(EDjl4 > ChangeDis)
					{
						if(EDjl1 < TurnDis)
						{
							if(EDjl5 > ChangeDis)
							{

								moto_control1 = left;
								vTaskSuspend(main_1Handle);
								angleJS = 4;

							}
						}
						else
						{
							moto_control1 = front;
							speed = LowSpeed;
						}
					}
				}
			}
			break;
			case 4:
			{
				do
				{
					moto_control1 = frontJ;
					speed = setSPEED;
					osDelayUntil(&xLastWakeTime, xFrequency);
				}
				while(EDjl3 > ChangeDis);
				while(EDjl3 < ChangeDis)
				{
					moto_control1 = frontJ;
					speed = setSPEED;
					osDelayUntil(&xLastWakeTime, xFrequency);
				}
				while(EDjl3 > ChangeDis)
				{
					moto_control1 = frontJ;
					speed = LowSpeed;
               if(EDjl2 > ChangeDis)
					{
						moto_control1 = 0;
						moto_frontDis(Turnworkdis,Turnworkdis,LowSpeed);
						moto_control1 = left;
						vTaskSuspend(main_1Handle);
						angleJS = 5;
						break;
					}
					osDelayUntil(&xLastWakeTime, xFrequency);
				}
			}
	      break;
			case 5:
			{
				if(EDjl1 > LowDis)
				{
					if(EDjl2 > ChangeDis)
					{
						moto_control1 = front;
						speed = setSPEED;
					}
					else
					{
						moto_control1 = frontJ;
						speed = setSPEED;
					}
				}
				else
				{
					if(EDjl4 > ChangeDis)
					{
						if(EDjl1 < TurnDis)
						{
							if(EDjl5 > ChangeDis)
							{

								moto_control1 = right;
								vTaskSuspend(main_1Handle);
								angleJS = 6;

							}
						}
						else
						{
							moto_control1 = front;
							speed = LowSpeed;
						}
					}
				}
			}
			break;
//			case 6:
//			{
//            setfangx ++;
// 				if(setfangx == 2) angleJS = 7;
//				else angleJS = 2;
//			}
//	      break;
			case 6:
			{
				do
				{
					moto_control1 = frontJ;
					speed = setSPEED;
					osDelayUntil(&xLastWakeTime, xFrequency);
				}
				while(EDjl4 > ChangeDis);
				while(EDjl4 < ChangeDis)
				{
					moto_control1 = frontJ;
					speed = setSPEED;
					osDelayUntil(&xLastWakeTime, xFrequency);
				}
				while(EDjl4 > ChangeDis)
				{
					moto_control1 = frontJ;
					speed = LowSpeed;
               if(EDjl5 > ChangeDis)
					{
						moto_control1 = 0;
						moto_frontDis(Turnworkdis,Turnworkdis,LowSpeed);
						moto_control1 = right;
						vTaskSuspend(main_1Handle);
						angleJS = 7;
						break;
						//goto s;
					}
					osDelayUntil(&xLastWakeTime, xFrequency);
				}

			}
	      break;
			case 7:
			{
				if(EDjl1 > LowDis)
				{
					if(EDjl2 > ChangeDis)
					{
						moto_control1 = front;
						speed = setSPEED;
					}
					else
					{
						moto_control1 = frontJ;
						speed = setSPEED;
					}
				}
				else
				{
					if(EDjl4 > ChangeDis)
					{
						if(EDjl1 < TurnDis)
						{
							if(EDjl5 > ChangeDis)
							{

								moto_control1 = left;
								vTaskSuspend(main_1Handle);
								angleJS = 8;

							}
						}
						else
						{
							moto_control1 = front;
							speed = LowSpeed;
						}
					}
				}
			}
			break;
			case 8:
			{
				do
				{
					moto_control1 = frontJ;
					speed = setSPEED;
					osDelayUntil(&xLastWakeTime, xFrequency);
				}
				while(EDjl3 > ChangeDis);
				while(EDjl3 < ChangeDis)
				{
					moto_control1 = frontJ;
					speed = setSPEED;
					osDelayUntil(&xLastWakeTime, xFrequency);
				}
				while(EDjl3 > ChangeDis)
				{
					moto_control1 = frontJ;
					speed = LowSpeed;
               if(EDjl2 > ChangeDis)
					{
						moto_control1 = 0;
						moto_frontDis(Turnworkdis,Turnworkdis,LowSpeed);
						moto_control1 = left;
						vTaskSuspend(main_1Handle);
						angleJS = 9;
						break;
					}
					osDelayUntil(&xLastWakeTime, xFrequency);
				}
			}
	      break;
			case 9:
			{
				if(EDjl1 > LowDis)
				{
					if(EDjl2 > ChangeDis)
					{
						moto_control1 = front;
						speed = setSPEED;
					}
					else
					{
						moto_control1 = frontJ;
						speed = setSPEED;
					}
				}
				else
				{
					if(EDjl4 > ChangeDis)
					{
						if(EDjl1 < TurnDis)
						{
							if(EDjl5 > ChangeDis)
							{

								moto_control1 = right;
								vTaskSuspend(main_1Handle);
								angleJS = 10;

							}
						}
						else
						{
							moto_control1 = front;
							speed = LowSpeed;
						}
					}
				}
			}
			break;
			case 10:
			{
				do
				{
					moto_control1 = frontJ;
					speed = setSPEED;
					osDelayUntil(&xLastWakeTime, xFrequency);
				}
				while(EDjl4 > ChangeDis);
				while(EDjl4 < ChangeDis)
				{
					moto_control1 = frontJ;
					speed = setSPEED;
					osDelayUntil(&xLastWakeTime, xFrequency);
				}
				while(EDjl4 > ChangeDis)
				{
					moto_control1 = frontJ;
					speed = LowSpeed;
               if(EDjl1 < TurnDis)
					{
						moto_control1 = right;
						vTaskSuspend(main_1Handle);
						angleJS = 11;
						break;
					}
					osDelayUntil(&xLastWakeTime, xFrequency);
				}
			}
			break;
			case 11:
			{
				if(EDjl1>LowDis)
				{
					speed = setSPEED;
					moto_control1 = frontJ;
				}
				else
				{
					speed = LowSpeed;
					moto_control1 = front;
					 if(EDjl4 > ChangeDis)
					 {
						// if(EDjl5 > ChangeDis)
						 //{
							 if(EDjl1 < TurnDis)
							{
								moto_control1 = left;
								vTaskSuspend(main_1Handle);
								angleJS = 12;
							}
						//}
					}
				}
			}
			break;
			case 12:
			{
				if(EDjl5 < ChangeDis)
				{
					speed = setSPEED;
					moto_control1 = front;
				}
				else
				{
					osDelay(500);
					moto_control1 = 0;

					moto_stop();
					angleJS = 14;
				}
			}
			break;
			default:break;
		}
		osDelayUntil(&xLastWakeTime, xFrequency);
		//osDelay (5);
	}
}

void Testtask(void const * argument)
{
  /* USER CODE BEGIN StartTask05 */
  /* Infinite loop */
	//uint8_t JL[] = {"前    cm左   cm右   cm后   cm"};
	uint16_t c;
uint8_t JL[] = {"F---.- L---.- E---.- R---.- G---.- B---.- ---°  -----, -----, ----- --- ---\n\r"};
//uint8_t JL1[] = {"--------------------------\n\r"};
	TickType_t xLastWakeTime;
	const TickType_t xFrequency = 20;
	xLastWakeTime = xTaskGetTickCount();
  for(;;)
  {

		//print_usart2("F%d\r\nL%d\r\nE%d\r\nR%d\r\nG%d\r\nB%d\r\n",EDjl1,EDjl2,EDjl3,EDjl4,EDjl5,EDjl6);

	    //angle1 = angle;
	   //JL[1] = echo1[0]/10000+48;
		JL[1] = EDjl1%10000/1000+48;
		JL[2] = EDjl1%10000%1000/100+48;
		JL[3] = EDjl1%10000%1000%100/10+48;
	   JL[5] = EDjl1%10000%1000%100%10+48;

	  //	JL[11] = echo1[1]/10000+48;
		JL[8] = EDjl2%10000/1000+48;
		JL[9] = EDjl2%10000%1000/100+48;
		JL[10] = EDjl2%10000%1000%100/10+48;
	   JL[12] = EDjl2%10000%1000%100%10+48;

	  // JL[21] = EDjl1/10000+48;
		JL[15] = EDjl3%10000/1000+48;
		JL[16] = EDjl3%10000%1000/100+48;
		JL[17] = EDjl3%10000%1000%100/10+48;
	   JL[19] = EDjl3%10000%1000%100%10+48;

   	//JL[14] = EDjl4/10000+48;
		JL[22] = EDjl4%10000/1000+48;
		JL[23] = EDjl4%10000%1000/100+48;
		JL[24] = EDjl4%10000%1000%100/10+48;
	   JL[26] = EDjl4%10000%1000%100%10+48;

		JL[29] = EDjl5%10000/1000+48;
		JL[30] = EDjl5%10000%1000/100+48;
		JL[31] = EDjl5%10000%1000%100/10+48;
	   JL[33] = EDjl5%10000%1000%100%10+48;

   	//JL[14] = EDjl4/10000+48;
		JL[36] = EDjl6%10000/1000+48;
		JL[37] = EDjl6%10000%1000/100+48;
		JL[38] = EDjl6%10000%1000%100/10+48;
	   JL[40] = EDjl6%10000%1000%100%10+48;

//		JL[42] = angle1/100+48;
//		JL[43] = angle1%100/10+48;
//	   JL[44] = angle1%100%10+48;

		if(YAW<0) JL[48] = '-',c = -YAW;
		else JL[48] = ' ',c = YAW;

		JL[49] = c/10000+48;
		JL[50] = c%10000/1000+48;
	   JL[51] = c%10000%1000/100+48;
		JL[52] = c%10000%1000%100/10+48;
		JL[53] = c%10000%1000%100%10+48;

		if(PITCH<0) JL[55] = '-',c = -PITCH;
		else JL[55] = ' ',c = PITCH;

		JL[56] = c/10000+48;
		JL[57] = c%10000/1000+48;
	   JL[58] = c%10000%1000/100+48;
		JL[59] = c%10000%1000%100/10+48;
		JL[60] = c%10000%1000%100%10+48;

		if(ROLL<0) JL[62] = '-',c = -ROLL;
		else JL[62] = ' ',c = ROLL;

		JL[63] = c/10000+48;
		JL[64] = c%10000/1000+48;
	   JL[65] = c%10000%1000/100+48;
		JL[66] = c%10000%1000%100/10+48;
		JL[67] = c%10000%1000%100%10+48;

		JL[69] = SPDA/100+48;
		JL[70] = SPDA%100/10+48;
		JL[71] = SPDA%100%10+48;

		JL[73] = SPDB/100+48;
		JL[74] = SPDB%100/10+48;
		JL[75] = SPDB%100%10+48;
//		JL[9] = EDjl2/100+48;
//		JL[10] = EDjl2%100/10+48;
//		JL[11] = EDjl2%100%10+48;
//
//		JL[16] = EDjl3/100+48;
//		JL[17] = EDjl3%100/10+48;
//		JL[18] = EDjl3%100%10+48;
//
//		JL[23] = EDjl4/100+48;
//		JL[24] = EDjl4%100/10+48;
//		JL[25] = EDjl4%100%10+48;
	// HAL_UART_Transmit_DMA(&huart3,JL,78);
	 osDelayUntil(&xLastWakeTime, xFrequency);
  }
  /* USER CODE END StartTask05 */
}

/* USER CODE END 4 */

void StartDefaultTask(void const * argument)
{

  for(;;)
  {
		osDelay(1);
  }
}

void HAL_TIM_PeriodElapsedCallback(TIM_HandleTypeDef *htim)
{
  if (htim->Instance == TIM7) {
    HAL_IncTick();
  }
  /* USER CODE BEGIN Callback 1 */
//  if(Timec == 25)
//  {
//	  Timec = 0;
//	 SPDA = __HAL_TIM_GET_COUNTER(&htim8);
//	 SPDB = __HAL_TIM_GET_COUNTER(&htim4);
//	  ReadDisA = ReadDisA + SPDA;
//	  ReadDisB = ReadDisB + SPDB;
//	  __HAL_TIM_SET_COUNTER(&htim8,0);
//	  __HAL_TIM_SET_COUNTER(&htim4,0);
//  }
//  else Timec ++;
  /* USER CODE END Callback 1 */
}

void _Error_Handler(char *file, int line)
{
  /* USER CODE BEGIN Error_Handler_Debug */
  /* User can add his own implementation to report the HAL error return state */
  while(1)
  {
    HAL_GPIO_TogglePin(LED_GPIO_Port,LED_Pin);
	  HAL_Delay(500);
  }
  /* USER CODE END Error_Handler_Debug */
}

/************************ (C) COPYRIGHT STMicroelectronics *****END OF FILE****/
